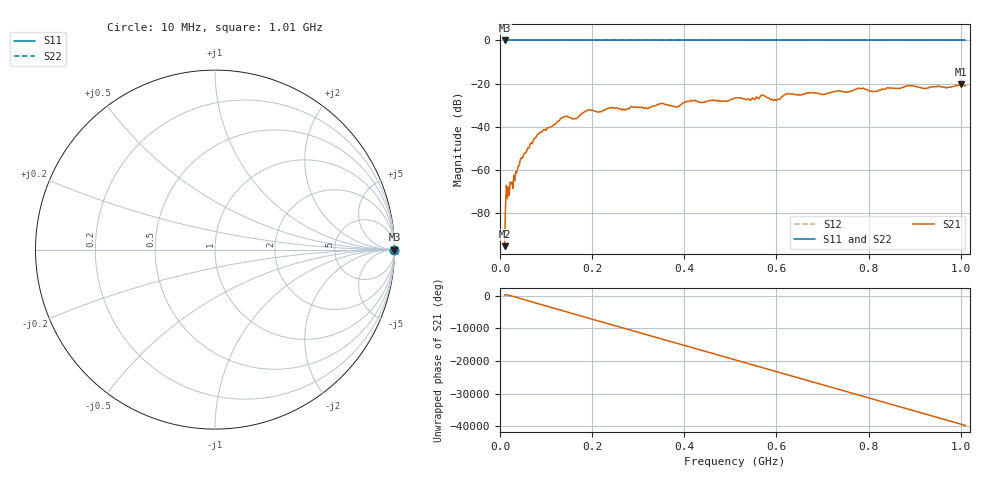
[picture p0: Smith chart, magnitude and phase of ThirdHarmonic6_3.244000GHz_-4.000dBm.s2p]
! 8/17/2025 9:57:53 AM
! C:\ANRITSUVNA\TEMP\TEMP.S2P
! CHANNEL.1
! TR.MEASUREMENT
! RAW.DATA
! RF.CORRECTION.OFF
! AVERAGING.OFF
! IF.BANDWIDTH: 5KHZ
! SWEEPTYPE:  FREQ.SWEEP(Linear)
! Reference Plane Port Info
! PORT:  PORT1  PORT2
! DISTANCE:  0  m  0  m
! TIME:  0  s  0  s
! PHASE.OFFSET:  0  deg.  0  deg.
! LOSS:  0  dB  0  dB
! REF.LOSS:  0  dB  0  dB
! REF.FREQ:  0  Hz  0  Hz
! Power Info
! POWER:  -20  dBm  -20  dBm
! EFF.POWER:  -20  dBm  -20  dBm
! SOURCE.ATTEN:  0  dB  0  dB
! TEST.ATTEN:  0  dB  0  dB
# GHZ S RI R 50.0
! FREQ.GHZ  S11RE  S11IM  S21RE  S21IM  S12RE  S12IM  S22RE  S22IM
!; PortSelection: Port_12
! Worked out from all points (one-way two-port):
!   501 points, 10 MHz to 1.01 GHz, reference 50 ohm
!   highest |S21| = -20.31 dB at 1 GHz (marker M1); lowest = -95.1 dB at 10 MHz (marker M2)
!   lowest |S11| = 0.0 dB at 10 MHz (marker M3)
!   |S11| at or under -10 dB: nowhere
!   |S22| runs from 0.0 to 0.0 dB; largest |S21 - S12| = 1.1
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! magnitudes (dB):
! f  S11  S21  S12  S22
! 10 MHz  0.0  -95.1  0.0  0.0
! 18 MHz  0.0  -67.8  0.0  0.0
! 32 MHz  0.0  -64.8  0.0  0.0
! 48 MHz  0.0  -54.5  0.0  0.0
! 78 MHz  0.0  -44.8  0.0  0.0
! 136 MHz  0.0  -35.6  0.0  0.0
! 162 MHz  0.0  -36.1  0.0  0.0
! 178 MHz  0.0  -33.8  0.0  0.0
! 192 MHz  0.0  -32.1  0.0  0.0
! 318 MHz  0.0  -31.4  0.0  0.0
! 344 MHz  0.0  -29.7  0.0  0.0
! 384 MHz  0.0  -30.7  0.0  0.0
! 410 MHz  0.0  -28.3  0.0  0.0
! 510 MHz  0.0  -26.7  0.0  0.0
! 542 MHz  0.0  -27.5  0.0  0.0
! 570 MHz  0.0  -25.3  0.0  0.0
! 598 MHz  0.0  -27.5  0.0  0.0
! 624 MHz  0.0  -24.7  0.0  0.0
! 678 MHz  0.0  -24.0  0.0  0.0
! 844 MHz  0.0  -21.9  0.0  0.0
! 1 GHz  0.0  -20.3  0.0  0.0
! 1.01 GHz  0.0  -20.9  0.0  0.0
